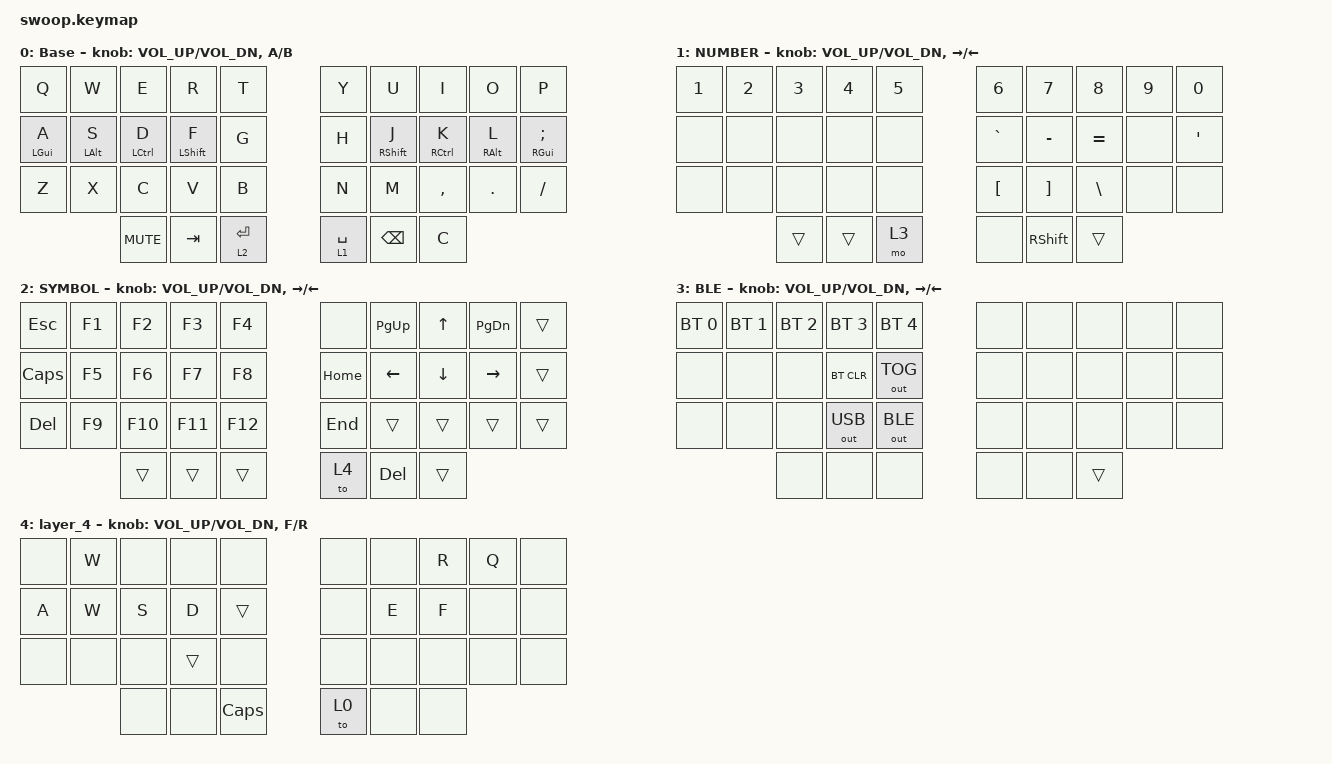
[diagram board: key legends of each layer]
/*
 * Copyright (c) 2020 duckyb
 *
 * SPDX-License-Identifier: MIT
 */

#include <behaviors.dtsi>
#include <dt-bindings/zmk/bt.h>
#include <dt-bindings/zmk/keys.h>
#include <dt-bindings/zmk/outputs.h>

/ {
    behaviors {
        tab_esc_ctrl: tab_esc_ctrl {
            compatible = "zmk,behavior-tap-dance";
            label = "TAB_ESC_CTRL";
            #binding-cells = <0>;
            bindings = <&mt LCTRL ESC>, <&kp TAB>;
        };

        gqt: global-quick-tap {
            compatible = "zmk,behavior-hold-tap";
            label = "GLOBAL_QUICK_TAP";
            bindings = <&kp>, <&kp>;

            #binding-cells = <2>;
            quick-tap-ms = <180>;
            tapping-term-ms = <200>;
            global-quick-tap;
            flavor = "tap-preferred";
        };

        ltq: ltq {
            compatible = "zmk,behavior-hold-tap";
            label = "LTQ";
            bindings = <&mo>, <&kp>;

            #binding-cells = <2>;
            global-quick-tap;
            tapping-term-ms = <200>;
            quick-tap-ms = <180>;
        };
    };

    combos {
        compatible = "zmk,combos";

        left_bkt {
            bindings = <&kp LBKT>;
            key-positions = <3 2>;
            timeout-ms = <50>;
        };

        right_bkt {
            bindings = <&kp RBKT>;
            key-positions = <6 7>;
            timeout-ms = <50>;
        };

        left_par {
            bindings = <&kp LEFT_PARENTHESIS>;
            key-positions = <12 13>;
            timeout-ms = <50>;
        };

        right_par {
            bindings = <&kp RIGHT_PARENTHESIS>;
            key-positions = <16 17>;
            timeout-ms = <50>;
        };

        left_brace {
            bindings = <&kp LEFT_BRACE>;
            key-positions = <23 22>;
            timeout-ms = <50>;
        };

        right_brace {
            bindings = <&kp RIGHT_BRACE>;
            key-positions = <26 27>;
            timeout-ms = <50>;
        };

        bac {
            bindings = <&kp BACKSLASH>;
            key-positions = <4 5>;
        };

        pipe {
            bindings = <&kp PIPE>;
            key-positions = <14 15>;
        };
    };

    keymap {
        compatible = "zmk,keymap";

        base {
            label = "Base";
            bindings = <
&kp Q            &kp W            &kp E         &kp R              &kp T          &kp Y        &kp U               &kp I         &kp O        &kp P
&gqt LEFT_GUI A  &gqt LEFT_ALT S  &gqt LCTRL D  &gqt LEFT_SHIFT F  &kp G          &kp H        &gqt RIGHT_SHIFT J  &gqt RCTRL K  &gqt RALT L  &gqt RIGHT_GUI SEMICOLON
&kp Z            &kp X            &kp C         &kp V              &kp B          &kp N        &kp M               &kp COMMA     &kp DOT      &kp FSLH
                                  &kp C_MUTE    &kp TAB            &lt 2 ENTER    &lt 1 SPACE  &kp BACKSPACE       &kp C
            >;

            sensor-bindings =
                <&inc_dec_kp C_VOL_UP C_VOL_DN>,
                <&inc_dec_kp A B>;
        };

        number {
            label = "NUMBER";
            bindings = <
&kp N1  &kp N2  &kp N3  &kp N4  &kp N5    &kp N6            &kp N7             &kp N8         &kp N9  &kp N0
&none   &none   &none   &none   &none     &kp GRAVE         &kp MINUS          &kp EQUAL      &none   &kp SQT
&none   &none   &none   &none   &none     &kp LEFT_BRACKET  &kp RIGHT_BRACKET  &kp BACKSLASH  &none   &none
                &trans  &trans  &mo 3     &none             &kp RIGHT_SHIFT    &trans
            >;

            sensor-bindings = <&inc_dec_kp C_VOL_UP C_VOL_DN &inc_dec_kp RIGHT LEFT>;
        };

        symbol {
            label = "SYMBOL";
            bindings = <
&kp ESC   &kp F1  &kp F2   &kp F3   &kp F4     &none     &kp PAGE_UP     &kp UP    &kp PAGE_DOWN  &trans
&kp CAPS  &kp F5  &kp F6   &kp F7   &kp F8     &kp HOME  &kp LEFT_ARROW  &kp DOWN  &kp RIGHT      &trans
&kp DEL   &kp F9  &kp F10  &kp F11  &kp F12    &kp END   &trans          &trans    &trans         &trans
                  &trans   &trans   &trans     &to 4     &kp DELETE      &trans
            >;

            sensor-bindings = <&inc_dec_kp C_VOL_UP C_VOL_DN &inc_dec_kp RIGHT LEFT>;
        };

        ble {
            label = "BLE";
            bindings = <
&bt BT_SEL 0  &bt BT_SEL 1  &bt BT_SEL 2  &bt BT_SEL 3  &bt BT_SEL 4    &none  &none  &none   &none  &none
&none         &none         &none         &bt BT_CLR    &out OUT_TOG    &none  &none  &none   &none  &none
&none         &none         &none         &out OUT_USB  &out OUT_BLE    &none  &none  &none   &none  &none
                            &none         &none         &none           &none  &none  &trans
            >;

            sensor-bindings = <&inc_dec_kp C_VOL_UP C_VOL_DN &inc_dec_kp RIGHT LEFT>;
        };

        layer_4 {
            bindings = <
&none  &kp W  &none  &none   &none           &none  &none  &kp R  &kp Q  &none
&kp A  &kp W  &kp S  &kp D   &trans          &none  &kp E  &kp F  &none  &none
&none  &none  &none  &trans  &none           &none  &none  &none  &none  &none
              &none  &none   &kp CAPSLOCK    &to 0  &none  &none
            >;

            sensor-bindings =
                <&inc_dec_kp C_VOL_UP C_VOL_DN>,
                <&inc_dec_kp F R>;
        };
    };
};
